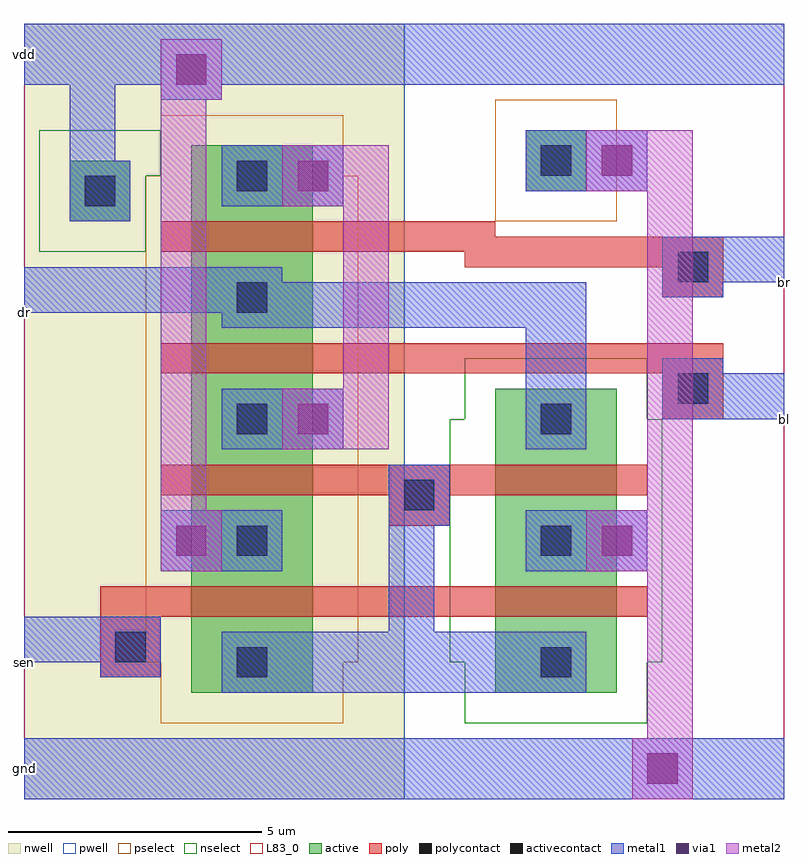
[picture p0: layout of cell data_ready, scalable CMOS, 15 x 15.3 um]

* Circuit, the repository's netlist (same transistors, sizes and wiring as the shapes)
.SUBCKT data_ready bl br sen dr vdd gnd
M0 sen_bar sen gnd gnd n w=2.4u l=0.6u
M1 sen_bar sen vdd vdd p w=2.4u l=0.6u
M2 dr sen_bar gnd gnd n w=2.4u l=0.6u
M3 n1 sen_bar vdd vdd p w=2.4u l=0.6u
M4 dr bl n1 vdd p w=2.4u l=0.6u
M5 dr br n1 vdd p w=2.4u l=0.6u
.ENDS data_ready

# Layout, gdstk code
import gdstk
lib = gdstk.Library(unit=1e-6, precision=1e-09)
def R(c, l, rs):  # rectangles x0, y0, x1, y1
    for r in rs: c.add(gdstk.rectangle(r[:2], r[2:], *l))
def A(c, l, x, y, w, h, nx, ny, dx, dy):  # array of equal rectangles
    R(c, l, [(x+i*dx, y+j*dy, x+i*dx+w, y+j*dy+h) for i in range(nx) for j in range(ny)])
pwell = (41, 0)
nwell = (42, 0)
active = (43, 0)
pselect = (44, 0)
nselect = (45, 0)
poly = (46, 0)
polycontact = (47, 0)
activecontact = (48, 0)
metal1 = (49, 0)
via1 = (50, 0)
metal2 = (51, 0)
L83_0 = (83, 0)

data_ready = lib.new_cell('data_ready')
R(data_ready, pwell, [(7.5,0,15,15.3)])
R(data_ready, nwell, [(0,0,7.5,15.3)])
R(data_ready, active, [(3.3,2.1,5.7,12.9), (9.3,2.1,11.7,8.1), (0.9,11.4,2.1,12.6), (9.9,12,11.1,13.2)])
R(data_ready, pselect, [(2.7,1.5,6.3,2.7), (2.4,2.7,6.6,12.3), (9.3,11.4,11.7,13.8), (2.7,12.3,6.3,13.5)])
R(data_ready, nselect, [(8.7,1.5,12.3,2.7), (8.4,2.7,12.6,7.5), (8.7,7.5,12.3,8.7), (0.3,10.8,2.4,12.3), (0.3,12.3,2.7,13.2)])
R(data_ready, poly, [(1.5,2.4,2.7,3.6), (1.5,3.6,12.3,4.2), (7.2,5.4,8.4,6), (2.7,6,12.3,6.6), (12.6,7.5,13.8,8.4), (2.7,8.4,13.8,9), (12.6,9.9,13.8,10.5), (8.7,10.5,13.8,10.8), (2.7,10.8,13.8,11.1), (2.7,11.1,9.3,11.4)])
R(data_ready, polycontact, [(1.8,2.7,2.4,3.3), (7.5,5.7,8.1,6.3), (12.9,7.8,13.5,8.4), (12.9,10.2,13.5,10.8)])
A(data_ready, activecontact, 4.2, 2.4, 0.6, 0.6, 1, 5, 0, 2.4)
A(data_ready, activecontact, 10.2, 2.4, 0.6, 0.6, 1, 3, 0, 2.4)
R(data_ready, activecontact, [(1.2,11.7,1.8,12.3), (10.2,12.3,10.8,12.9)])
R(data_ready, metal1, [(0,0,15,1.2), (3.9,2.1,11.1,3.3), (1.5,2.4,2.7,2.7), (0,2.7,2.7,3.6), (7.2,3.3,8.1,5.4), (2.7,4.5,5.1,5.7), (9.9,4.5,12.3,5.7), (7.2,5.4,8.4,6.6), (3.9,6.9,6.3,8.1), (9.9,6.9,11.1,9.3), (12.6,7.5,15,8.4), (12.6,8.4,13.8,8.7), (3.9,9.3,11.1,9.6), (0,9.6,11.1,10.2), (12.6,9.9,13.8,10.2), (0,10.2,5.1,10.5), (12.6,10.2,15,11.1), (0.9,11.4,2.1,12.6), (3.9,11.7,6.3,12.9), (9.9,12,12.3,13.2), (0.9,12.6,1.8,14.1), (2.7,13.8,3.9,14.1), (0,14.1,15,15.3)])
R(data_ready, via1, [(12.3,0.3,12.9,0.9), (3,4.8,3.6,5.4), (11.4,4.8,12,5.4), (5.4,7.2,6,7.8), (5.4,12,6,12.6), (11.4,12.3,12,12.9), (3,14.1,3.6,14.7)])
R(data_ready, metal2, [(12,0,13.2,1.2), (12.3,1.2,13.2,4.5), (2.7,4.5,3.9,5.7), (11.1,4.5,13.2,5.7), (2.7,5.7,3.6,13.8), (12.3,5.7,13.2,12), (5.1,6.9,7.2,8.1), (6.3,8.1,7.2,11.7), (5.1,11.7,7.2,12.9), (11.1,12,13.2,13.2), (2.7,13.8,3.9,15)])
R(data_ready, L83_0, [(0,0,15,15.3)])
data_ready.add(gdstk.Label('vdd', (0,14.7), layer=49, texttype=0))
data_ready.add(gdstk.Label('gnd', (0,0.6), layer=49, texttype=0))
data_ready.add(gdstk.Label('dr', (0,9.6), layer=49, texttype=0))
data_ready.add(gdstk.Label('sen', (0,2.7), layer=49, texttype=0))
data_ready.add(gdstk.Label('bl', (15,7.5), layer=49, texttype=0))
data_ready.add(gdstk.Label('br', (15,10.2), layer=49, texttype=0))

lib.write_gds('data_ready.gds')
